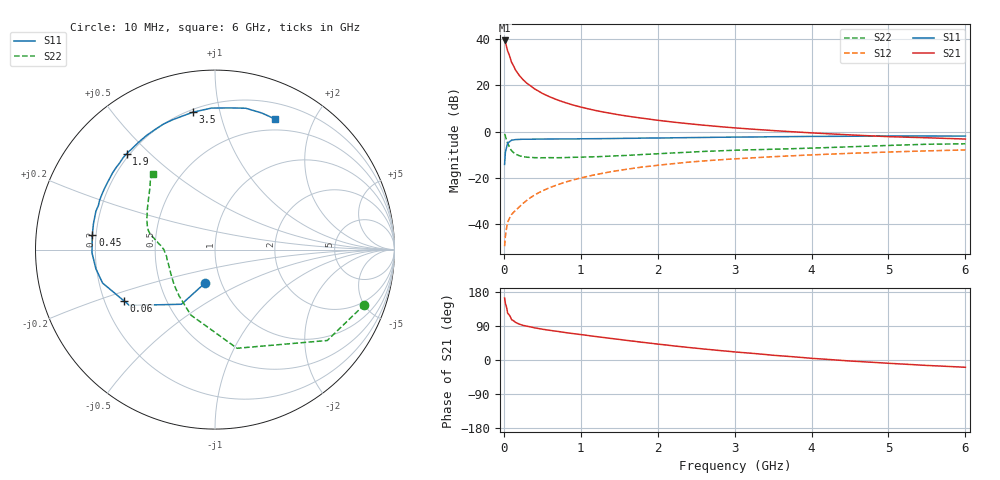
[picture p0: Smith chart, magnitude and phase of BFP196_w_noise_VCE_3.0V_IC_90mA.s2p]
! Infineon Technologies  Discrete & RF Semiconductors
! BFP196
! VCE =  3.0 V,  IC =  90 mA
! Common Emitter S-Parameters:  Jan 2017
# GHz  S  MA  R  50
!  f  S11  S21  S12  S22
! GHz  MAG  ANG  MAG  ANG  MAG  ANG  MAG  ANG
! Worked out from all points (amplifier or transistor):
!   77 points, 10 MHz to 6 GHz, reference 50 ohm
!   highest |S21| = 39.5 dB at 10 MHz (marker M1)
!   |S21| within 3 dB of that: start of sweep to 37.31 MHz
!   unconditionally stable (mu >= 1): 381.8 MHz to 2.395 GHz
!   at 130 MHz: K = 0.77, MSG = 31.5 dB, |S12| = -34.8 dB
!   at 2.2 GHz: K = 1.01, MAG = 8.4 dB, |S12| = -13.9 dB
!   at 6 GHz: K = 0.97, MSG = 2.4 dB, |S12| = -7.9 dB
!   lowest NFmin = 1.90 dB at 450 MHz
!   S11 on the Smith chart (normalised r, x): 10 MHz: 0.84, -0.32; 60 MHz: 0.28, -0.24; 450 MHz: 0.19, +0.06; 1.9 GHz: 0.19, +0.43; 3.5 GHz: 0.22, +0.83; 6 GHz: 0.37, +1.49
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0.01  0.1952 -106.8  94.43 163.6  0.0033 78.3  0.8872 -20.2
0.02  0.357 -121.5  86.36 149.4  0.0054 73.2  0.8046 -39.0
0.05  0.5692 -146.9  55.61 123.3  0.0109 54.7  0.5633 -77.4
0.06  0.5818 -150.6  50.63 121.2  0.0119 55.9  0.5176 -82.1
0.1  0.6534 -163.4  31.89 106.6  0.016 59.0  0.3887 -110.3
0.15  0.6721 -170.8  21.88 99.4  0.0195 61.5  0.3263 -127.8
0.2  0.6782 -175.2  16.59 94.8  0.0233 66.2  0.3011 -139.1
0.25  0.6857 -178.5  13.32 91.4  0.0279 67.5  0.2866 -146.5
0.3  0.6847 179.0  11.14 89.1  0.0326 68.4  0.2792 -152.4
0.4  0.6871 174.8  8.412 84.8  0.0424 70.4  0.273 -159.6
0.45  0.6878 173.0  7.57 83.2  0.0472 70.7  0.272 -162.1
0.6  0.6925 167.9  5.637 78.2  0.0615 70.2  0.273 -168.5
0.7  0.6938 165.1  4.835 75.5  0.0707 70.3  0.2719 -171.3
0.9  0.6947 159.3  3.769 69.7  0.0898 68.1  0.2775 -175.4
1.1  0.7014 153.7  3.109 64.5  0.1084 65.5  0.283 -178.8
1.9  0.7271 132.6  1.855 44.5  0.1783 54.4  0.3246 172.3
2.1  0.7304 127.6  1.685 39.8  0.1944 51.3  0.3383 170.5
3.1  0.7623 106.4  1.173 19.7  0.2628 36.9  0.3991 160.8
3.5  0.7753 99.2  1.054 12.5  0.2864 32.0  0.4156 156.0
4.1  0.7886 90.0  0.921 3.1  0.3183 24.4  0.4451 147.5
5.1  0.8048 76.4  0.77 -9.8  0.3658 12.6  0.5078 135.4
6  0.8008 65.5  0.691 -19.2  0.4018 2.6  0.5449 129.1
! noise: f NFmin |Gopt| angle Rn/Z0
0.45  1.9  0.53  -169  0.07
0.9  2.07  0.55  -156  0.11
1.9  2.95  0.71  -129  0.45
2.4  3.36  0.7  -115  0.94
